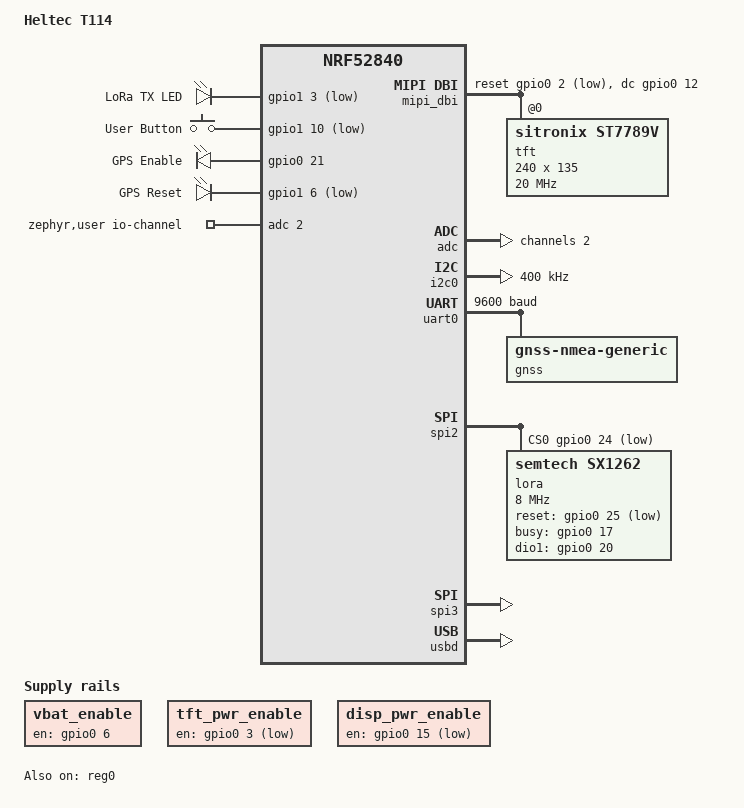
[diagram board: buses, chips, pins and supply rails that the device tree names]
/*
 * Heltec T114 — nRF52840 + SX1262 + ST7789 1.14" 240×135 TFT + ATGM336H GPS
 * Copyright (c) 2026 ZephCore
 *
 * SPDX-License-Identifier: Apache-2.0
 *
 */

/dts-v1/;
#include <nordic/nrf52840_qiaa.dtsi>
#include <nordic/nrf52840_partition.dtsi>
#include <zephyr/dt-bindings/lora/sx126x.h>
#include <zephyr/dt-bindings/adc/nrf-saadc.h>
#include <zephyr/dt-bindings/input/input-event-codes.h>
#include "heltec_t114_nrf52840-pinctrl.dtsi"

/* Delete default partitions from nrf52840_partition.dtsi */
/delete-node/ &boot_partition;
/delete-node/ &slot0_partition;
/delete-node/ &slot1_partition;
/delete-node/ &storage_partition;

/ {
	model = "Heltec T114";
	compatible = "heltec,t114";

	chosen {
		zephyr,code-partition = &code_partition;
		zephyr,console = &cdc_acm_uart;
		zephyr,shell-uart = &cdc_acm_uart;
		zephyr,display = &mono_tft;
	};

	leds {
		compatible = "gpio-leds";

		/* LED_BUILTIN on P1.03, active-LOW (LED_STATE_ON = LOW) */
		tx_led: led_0 {
			gpios = <&gpio1 3 GPIO_ACTIVE_LOW>;
			label = "LoRa TX LED";
		};
	};

	buttons: buttons {
		compatible = "gpio-keys";

		user_button: button_0 {
			gpios = <&gpio1 10 (GPIO_PULL_UP | GPIO_ACTIVE_LOW)>;
			zephyr,code = <INPUT_KEY_0>;
			label = "User Button";
		};
	};

	/* Input filter: user button long-press detection (1000ms) */
	user_btn_longpress {
		compatible = "zephyr,input-longpress";
		input = <&buttons>;
		input-codes = <INPUT_KEY_0>;
		short-codes = <INPUT_KEY_A>;
		long-codes = <INPUT_KEY_POWER>;
		long-delay-ms = <1000>;
	};

	/* Input filter: user button multi-tap detection
	 * 1 tap  (400ms wait) → KEY_1 = page next on TFT
	 * 2 taps (400ms wait) → KEY_B = flood advert
	 * 3 taps (400ms wait) → KEY_D = buzzer mute toggle
	 * 4 taps (400ms wait) → KEY_C = GPS on/off
	 * 5 taps (immediate)  → KEY_E = LED heartbeat toggle */
	user_btn_multitap {
		compatible = "zephcore,input-multi-tap";
		/* No 'input' phandle — listen to ALL devices.
		 * KEY_A is emitted by the longpress pseudo-device,
		 * not by &buttons, so we must not filter by device. */
		input-codes = <INPUT_KEY_A>;
		tap-codes = <INPUT_KEY_1 INPUT_KEY_B INPUT_KEY_D INPUT_KEY_C INPUT_KEY_E>;
		tap-delay-ms = <400>;
	};

	/* GPS power enable — P0.21, HIGH = GPS powered on */
	gps_en: gps-enable {
		compatible = "gpio-leds";
		gps_enable_pin: gps_enable {
			gpios = <&gpio0 21 GPIO_ACTIVE_HIGH>;
			label = "GPS Enable";
		};
	};

	/* GPS hardware reset — P1.06, active-LOW (PIN_GPS_RESET_ACTIVE=LOW) */
	gps_rst: gps-reset {
		compatible = "gpio-leds";
		gps_reset_pin: gps_reset {
			gpios = <&gpio1 6 GPIO_ACTIVE_LOW>;
			label = "GPS Reset";
		};
	};

	/*
	 * Battery ADC enable — P0.06, HIGH = enable divider for measurement.
	 * ZephyrBoard::getBattMilliVolts() calls regulator_{enable,disable}
	 * around each reading to save power.
	 */
	vbat_enable: vbat-enable {
		compatible = "regulator-fixed";
		regulator-name = "vbat-enable";
		enable-gpios = <&gpio0 6 GPIO_ACTIVE_HIGH>;
	};

	/*
	 * TFT power rail — P0.03, active-LOW (PIN_TFT_VDD_CTL LOW = display on).
	 * Owned by display.c: enabled before CFB init, never disabled.
	 * Screenless builds (no_display.conf) never call display.c so this
	 * pin stays HIGH and the panel VDD rail is never powered.
	 */
	tft_pwr_enable: tft-pwr-enable {
		compatible = "regulator-fixed";
		regulator-name = "tft-pwr-enable";
		enable-gpios = <&gpio0 3 GPIO_ACTIVE_LOW>;
	};

	/*
	 * TFT backlight — P0.15, active-LOW (PIN_TFT_LEDA_CTL LOW = backlight on).
	 * Named disp_pwr_enable so display.c auto-gates it with the display on/off.
	 */
	disp_pwr_enable: disp-pwr-enable {
		compatible = "regulator-fixed";
		regulator-name = "disp-pwr-enable";
		enable-gpios = <&gpio0 15 GPIO_ACTIVE_LOW>;
	};

	/*
	 * Monochrome wrapper around the ST7789V.
	 * Reports PIXEL_FORMAT_MONO01 to CFB → ~4 KB framebuffer instead of ~64 KB.
	 * display.c picks this up via the zephyr,display chosen node.
	 */
	mono_tft: mono-tft {
		compatible = "zephcore,mono-tft";
		tft-dev = <&tft>;
		width = <240>;
		height = <135>;
	};

	/*
	 * MIPI-DBI SPI bus for ST7789V.
	 * DC=P0.12 (PIN_TFT_DC=12), RST=P0.02 (PIN_TFT_RST=2, active-LOW).
	 * write-only: no MISO on display SPI.
	 */
	mipi_dbi {
		compatible = "zephyr,mipi-dbi-spi";
		spi-dev = <&spi3>;
		dc-gpios = <&gpio0 12 GPIO_ACTIVE_HIGH>;
		reset-gpios = <&gpio0 2 GPIO_ACTIVE_LOW>;
		write-only;
		#address-cells = <1>;
		#size-cells = <0>;

		tft: st7789v@0 {
			compatible = "sitronix,st7789v";
			mipi-max-frequency = <20000000>;
			reg = <0>;
			width = <240>;
			height = <135>;
			x-offset = <40>;
			y-offset = <53>;
			/* MADCTL=0x60: MX|MV, RGB order (landscape, derived from MeshCore landscapeScreen()) */
			mdac = <0x60>;
			colmod = <0x55>;
			vcom = <0x20>;
			gctrl = <0x35>;
			vrhs = <0x0b>;
			vdvs = <0x20>;
			gamma = <0x01>;
			lcm = <0x2c>;
			porch-param = [0c 0c 00 33 33];
			cmd2en-param = [5a 69 02 01];
			pwctrl1-param = [a4 a1];
			pvgam-param = [70 2c 2e 15 10 09 48 33 53 0b 19 18 20 25];
			nvgam-param = [70 2c 2e 15 10 09 48 33 53 0b 19 18 20 25];
			ram-param = [00 f0];
			rgb-param = [40 02 14];
			mipi-mode = "MIPI_DBI_MODE_SPI_4WIRE";
		};
	};

	zephyr,user {
		io-channels = <&adc 2>;
		/*
		 * Full-scale = 3600 mV (ADC_GAIN_1_6 + ADC_REF_INTERNAL),
		 * voltage divider ratio = 4.9 (ADC_MULTIPLIER from variant.h).
		 * multiplier = 3600 * 4.9 = 17640
		 */
		vbat-mv-multiplier = <17640>;
	};

	aliases {
		led0 = &tx_led;
		lora-tx-led = &tx_led;
		sw0 = &user_button;
		lora0 = &lora;
		watchdog0 = &wdt0;
		gps-enable = &gps_enable_pin;
		gps-reset = &gps_reset_pin;
	};
};

&reg0 {
	status = "okay";
};

/* DC-DC converter (NRF52BoardDCDC) */
&reg1 {
	regulator-initial-mode = <NRF5X_REG_MODE_DCDC>;
};

&adc {
	status = "okay";
	#address-cells = <1>;
	#size-cells = <0>;

	/* Battery voltage on P0.04 (AIN2) — 4.9:1 divider, 3.0V ref in Arduino */
	channel@2 {
		reg = <2>;
		zephyr,gain = "ADC_GAIN_1_6";
		zephyr,reference = "ADC_REF_INTERNAL";
		zephyr,acquisition-time = <ADC_ACQ_TIME(ADC_ACQ_TIME_MICROSECONDS, 10)>;
		zephyr,input-positive = <NRF_SAADC_AIN2>;
		zephyr,resolution = <12>;
	};
};

&gpiote {
	status = "okay";
};

&gpio0 {
	status = "okay";
};

&gpio1 {
	status = "okay";
};

&i2c0 {
	compatible = "nordic,nrf-twim";
	status = "okay";
	clock-frequency = <I2C_BITRATE_FAST>;
	pinctrl-0 = <&i2c0_default>;
	pinctrl-1 = <&i2c0_sleep>;
	pinctrl-names = "default", "sleep";

	#include "../../common/sensors-i2c.dtsi"
};

&uart0 {
	compatible = "nordic,nrf-uarte";
	status = "okay";
	current-speed = <9600>;
	pinctrl-0 = <&uart0_default>;
	pinctrl-1 = <&uart0_sleep>;
	pinctrl-names = "default", "sleep";

	gnss: gnss {
		compatible = "gnss-nmea-generic";
	};
};

/* SPI2 - SX1262 LoRa radio */
&spi2 {
	compatible = "nordic,nrf-spim";
	status = "okay";
	cs-gpios = <&gpio0 24 GPIO_ACTIVE_LOW>;
	pinctrl-0 = <&spi2_default>;
	pinctrl-1 = <&spi2_sleep>;
	pinctrl-names = "default", "sleep";

	lora: lora@0 {
		compatible = "semtech,sx1262";
		reg = <0>;
		reset-gpios = <&gpio0 25 GPIO_ACTIVE_LOW>;
		busy-gpios = <&gpio0 17 GPIO_ACTIVE_HIGH>;
		dio1-gpios = <&gpio0 20 (GPIO_PULL_DOWN | GPIO_ACTIVE_HIGH)>;
		dio2-tx-enable;
		dio3-tcxo-voltage = <SX126X_DIO3_TCXO_1V8>;
		tcxo-power-startup-delay-ms = <5>;
		spi-max-frequency = <8000000>;
		rx-boosted;
	};
};

/* SPI3 - ST7789 1.14" 240×135 TFT display */
&spi3 {
	compatible = "nordic,nrf-spim";
	status = "okay";
	pinctrl-0 = <&spi3_default>;
	pinctrl-1 = <&spi3_sleep>;
	pinctrl-names = "default", "sleep";
	cs-gpios = <&gpio0 11 GPIO_ACTIVE_LOW>;
};

/*
 * QSPI Flash (MX25R1635F 2MB) — DISABLED.
 */
&qspi {
	status = "disabled";
};

zephyr_udc0: &usbd {
	compatible = "nordic,nrf-usbd";
	status = "okay";

	cdc_acm_uart: cdc_acm_uart {
		compatible = "zephyr,cdc-acm-uart";
	};
};

/* SoftDevice s140 v6.1.1 flash layout (app@0x26000, bootloader@0xF4000) */
#include "../../common/nrf52_partitions_sdv6.dtsi"
#include "../../common/nrf52_wakeup.dtsi"
